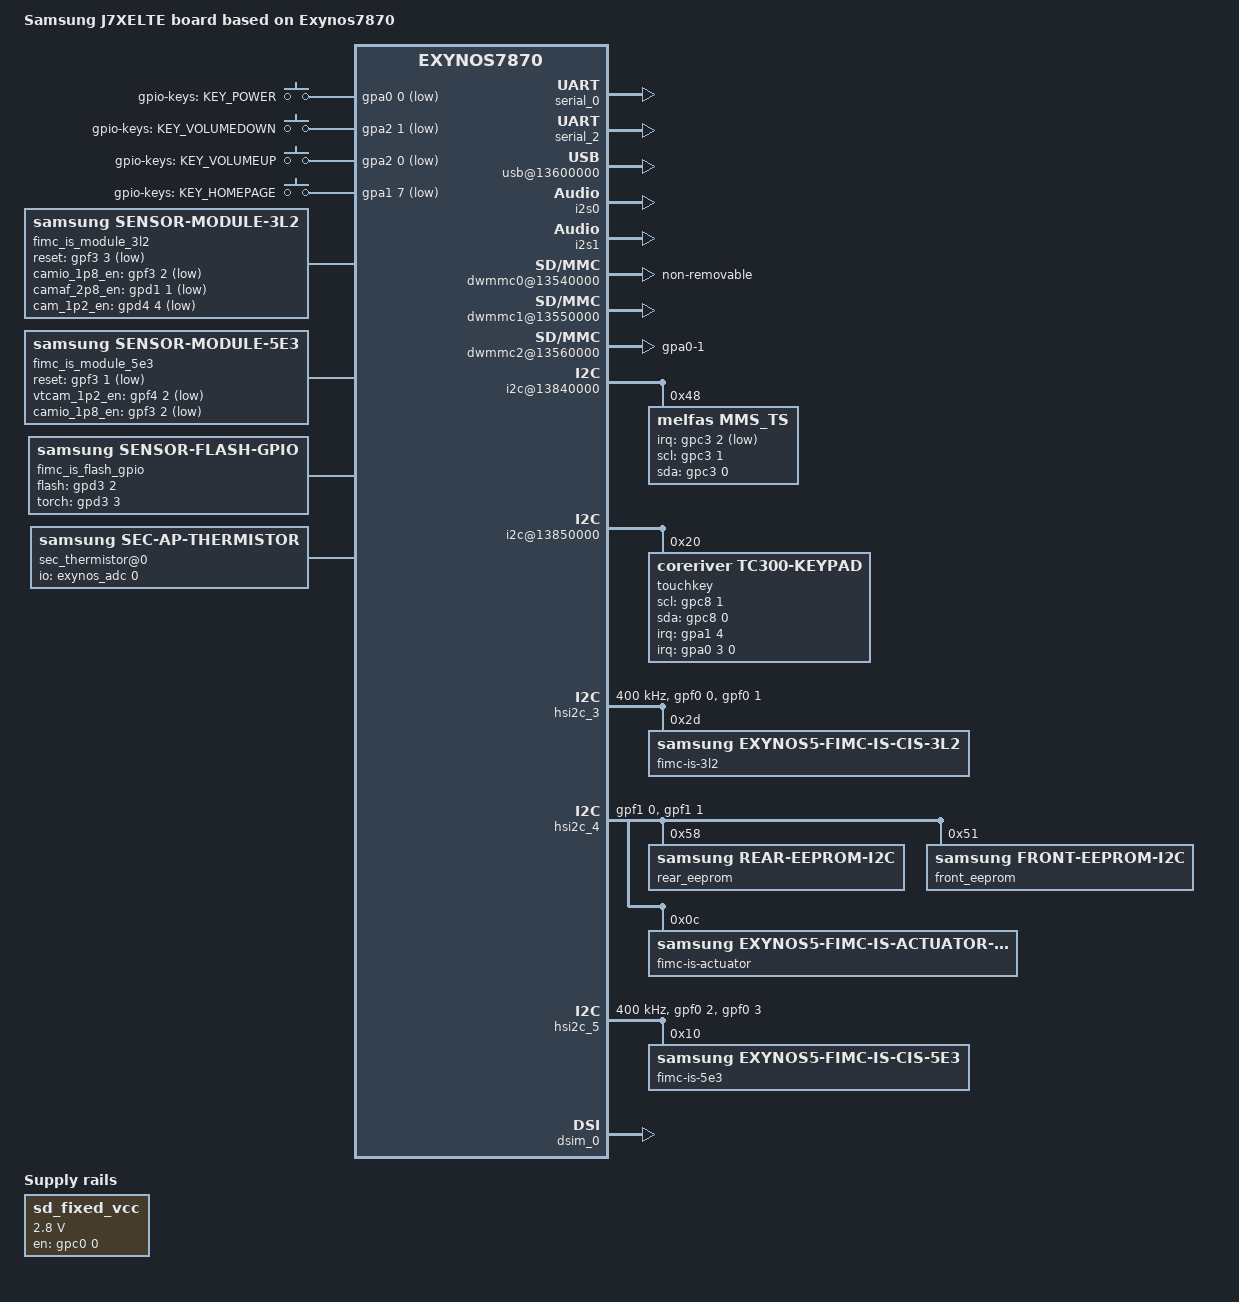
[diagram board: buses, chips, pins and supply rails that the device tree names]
/*
 * SAMSUNG UNIVERSAL8890 board device tree source
 *
 * Copyright (c) 2013 Samsung Electronics Co., Ltd.
 *		http://www.samsung.com
 *
 * This program is free software; you can redistribute it and/or modify
 * it under the terms of the GNU General Public License version 2 as
 * published by the Free Software Foundation.
*/

#include "exynos7870-rmem-2000MB.dtsi"
#include "exynos7870.dtsi"

/ {
	model = "Samsung J7XELTE board based on Exynos7870";
	compatible = "samsung,exynos7870", "samsung,universal7870";

	ect {
		parameter_address = <0x90000000>;
		parameter_size = <0x14000>;	/* u-boot always overwrites this value. */
	};

	memory@40000000 {
		device_type = "memory";
		reg = <0x0 0x40000000 0x3E400000>;
	};

	memory@80000000 {
		device_type = "memory";
		reg = <0x0 0x80000000 0x40000000>;
	};

	chosen {
		bootargs = "console=ram ess_setup=0x46000000 androidboot.hardware=samsungexynos7870 androidboot.selinux=disabled firmware_class.path=/vendor/firmware androidboot.debug_level=0x4948 reserve-fimc=0";
		linux,initrd-start = <0x42000000>;
		linux,initrd-end = <0x420FFFFF>;
	};

	fixed-rate-clocks {
		oscclk {
			compatible = "samsung,exynos7870-oscclk";
			clock-frequency = <26000000>;
		};
	};

	reserved-memory {
		#address-cells = <2>;
		#size-cells = <1>;
		ranges;

		mfc_fw {
			compatible = "exynos5433-ion,mfc_fw";
			secure;
			reg = <0x0 0xAE800000 0x200000>;
			id = <8>;
		};

		mfc_nfw {
			compatible = "exynos5433-ion,mfc_nfw";
			reg = <0x0 0xAE600000 0x200000>;
			id = <12>;
		};
	};

	serial_0: uart@13810000 {
		status = "okay";
	};

	serial_1: uart@13800000 {
		status = "disabled";
	};

	serial_2: uart@13820000 {
		status = "okay";
	};

	usb@13600000 {
		status = "okay";

		dwc3 {
			maximum-speed = "high-speed";
			dr_mode = "otg";
			is_not_vbus_pad;
		};
	};

	pinctrl_1: pinctrl@148C0000 {
		compatible = "samsung,exynos7870-pinctrl";
		reg = <0x0 0x148C0000 0x1000>;
		interrupts = <0 68 0>;
	};

	s1402x: s1402x@14880000 {
		pinctrl-names = "default", "idle";
		pinctrl-0 = <&i2s_pmic_bus
				&i2s_bt_bus>;
		pinctrl-1 = <&i2s_pmic_bus_idle
				&i2s_bt_bus_idle>;
		bt-fm-combo;
		bck-mcko-mode;
		status = "okay";
	};

	i2s0: i2s@148A0000 {
		status = "okay";
	};

	i2s1: i2s@148B0000 {
		status = "okay";
	};

	audio_cp_dummy: cp_dummy {
			compatible = "samsung,cp_dummy";
			status = "okay";
	};

	audio_fm_dummy: fm_dummy {
			compatible = "samsung,fm_dummy";
			status = "okay";
	};

	audio_bt_dummy: bt_dummy {
			compatible = "samsung,bt_dummy";
			status = "okay";
	};

	audio_codec_dummy: dummy-codec {
			compatible = "samsung,dummy-codec";
			status = "okay";
	};


	gpio_keys {
		compatible = "gpio-keys";
		pinctrl-names = "default";
		pinctrl-0 = <&key_power &key_voldown &key_volup &key_home>;
		#address-cells = <1>;
		#size-cells = <0>;

		button@1 {
			label = "gpio-keys: KEY_POWER";
			interrupts = <0 0 0>;
			interrupt-parent = <&gpa0>;
			linux,code = <116>;
			gpios = <&gpa0 0 0xf>;
			gpio-key,wakeup = <1>;
		};
		button@2 {
			label = "gpio-keys: KEY_VOLUMEDOWN";
			interrupts = <1 0 0>;
			interrupt-parent = <&gpa2>;
			linux,code = <114>;
			gpios = <&gpa2 1 0xf>;
		};
		button@3 {
			label = "gpio-keys: KEY_VOLUMEUP";
			interrupts = <0 0 0>;
			interrupt-parent = <&gpa2>;
			linux,code = <115>;
			gpios = <&gpa2 0 0xf>;
		};
		button@4 {
			label = "gpio-keys: KEY_HOMEPAGE";
			interrupts = <7 0 0>;
			interrupt-parent = <&gpa1>;
			linux,code = <172>;
			gpios = <&gpa1 7 0xf>;
			gpio-key,wakeup = <1>;
		};
	};

	dwmmc0@13540000 {
		status = "okay";
		num-slots = <1>;
		broken-cd;
		use-smu;
		fixed_voltage;
		clock-gate;
		supports-highspeed;
		mmc-ddr-1_8v;
		mmc-hs200-1_8v;
		mmc-hs400-1_8v;
		mmc-shutdown-poweroff;
		pm-skip-mmc-resume-init;
		supports-8bit;
		supports-cmd23;
		supports-erase;
		enable-ulp-mode;
		supports-hs400-enhanced-strobe;
		use-fine-tuning;
		bypass-for-allpass;
		card-init-hwacg-ctrl;
		fifo-depth = <0x40>;
		non-removable;
		desc-size = <4>;
		card-detect-delay = <200>;
		data-timeout = <200>;
		clock-frequency = <800000000>;
		samsung,dw-mshc-ciu-div = <3>;
		samsung,dw-mshc-txdt-crc-timer-fastlimit = <0x34>;
		samsung,dw-mshc-txdt-crc-timer-initval = <0x38>;
		samsung,dw-mshc-ddr200-delay-line = <0x60>;
		samsung,dw-mshc-sdr-timing = <3 0 4 0>;
		samsung,dw-mshc-ddr-timing = <3 0 4 2>;
		samsung,dw-mshc-hs200-timing = <3 0 3 0>;
		samsung,dw-mshc-ddr200-timing = <1 0 4 0>;
		samsung,dw-mshc-ddr200-ulp-timing = <3 0 3 0>;

		num-ref-clks = <12>;
		ciu_clkin = <25 50 50 25 50 100 200 50 50 200 200 200>;

		/* Swapping clock drive strength */
		clk-drive-number = <6>;
		pinctrl-names = "default",
			"fast-slew-rate-1x",
			"fast-slew-rate-2x",
			"fast-slew-rate-3x",
			"fast-slew-rate-4x",
			"fast-slew-rate-5x",
			"fast-slew-rate-6x";
		pinctrl-0 = <&sd0_clk &sd0_cmd &sd0_rdqs &sd0_bus1 &sd0_bus4 &sd0_bus8>;
		pinctrl-1 = <&sd0_clk_fast_slew_rate_1x>;
		pinctrl-2 = <&sd0_clk_fast_slew_rate_2x>;
		pinctrl-3 = <&sd0_clk_fast_slew_rate_3x>;
		pinctrl-4 = <&sd0_clk_fast_slew_rate_4x>;
		pinctrl-5 = <&sd0_clk_fast_slew_rate_5x>;
		pinctrl-6 = <&sd0_clk_fast_slew_rate_6x>;
		slot@0 {
			reg = <0>;
			bus-width = <8>;
		};
	};

	dwmmc1@13550000 {
		status = "okay";
		num-slots = <1>;
		channel = <1>;
		fixed_voltage;
		clock-gate;
		enable-cclk-on-suspend;
		caps-control;
		supports-highspeed;
		supports-4bit;
		keep-power-in-suspend;
		pm-ignore-notify;
		card-detect-type-external;
		use-broken-voltage;
		use-fine-tuning;
		fifo-depth = <0x40>;
		card-detect-delay = <200>;
		samsung,dw-mshc-ciu-div = <3>;
		samsung,dw-mshc-sdr-timing = <3 0 2 0>;
		samsung,dw-mshc-ddr-timing = <3 0 2 1>;
		clk_pin = "gpr2-0";
		clk_addr = "13750000.pinctrl";
		clk_val = <0x2>;
		clk_str_num = <4>;
		num-ref-clks = <9>;
		ciu_clkin = <25 50 50 25 50 100 200 50 50>;

		pinctrl-names = "default";
		pinctrl-0 = <&sd1_clk &sd1_cmd &sd1_bus1 &sd1_bus4>;
		slot@0 {
			reg = <0>;
			bus-width = <4>;
		};
	};

	dwmmc2@13560000 {
		status = "okay";
		num-slots = <1>;
		supports-highspeed;
		supports-4bit;
		supports-cmd23;
		supports-erase;
		sd-uhs-sdr50;
		sd-uhs-sdr104;
		card-detect-gpio;
		clock-gate;
		bypass-smu;
		bypass-for-allpass;
		use-fine-tuning;
		card-init-hwacg-ctrl;
		only_once_tune;
		skip-init-mmc-scan;
		samsung,voltage-int-extra = <0x7>;
		ignore-phase = <(1 << 7)>;
		fifo-depth = <0x40>;
		desc-size = <8>;
		card-detect-delay = <200>;
		data-timeout = <200>;
		hto-timeout = <550>;
		samsung,dw-mshc-ciu-div = <3>;
		clock-frequency = <800000000>;
		samsung,dw-mshc-sdr-timing = <3 0 3 0>;
		samsung,dw-mshc-ddr-timing = <3 0 2 1>;
		samsung,dw-mshc-sdr50-timing = <3 0 4 2>;
		samsung,dw-mshc-sdr104-timing = <3 0 3 0>;

		num-ref-clks = <9>;
		ciu_clkin = <25 50 50 25 50 100 200 50 50>;

		/* Swapping clock drive strength */
		clk-drive-number = <4>;
		pinctrl-names = "default",
			"fast-slew-rate-1x",
			"fast-slew-rate-2x",
			"fast-slew-rate-3x",
			"fast-slew-rate-4x";
		pinctrl-0 = <&sd2_clk &sd2_cmd &sd2_bus1 &sd2_bus4 &dwmmc2_cd_ext_irq>;
		pinctrl-1 = <&sd2_clk_fast_slew_rate_1x>;
		pinctrl-2 = <&sd2_clk_fast_slew_rate_2x>;
		pinctrl-3 = <&sd2_clk_fast_slew_rate_3x>;
		pinctrl-4 = <&sd2_clk_fast_slew_rate_4x>;

		card-detect = <&gpa0 1 0xf>;
		card-detect-gpio;
		sec-sd-slot-type = <1>; /* Normal SD slot */

		slot@0 {
			reg = <0>;
			bus-width = <4>;
			disable-wp;
		};
	};

	sd_fixed_vcc: fixedregulator@0 {
		compatible = "regulator-fixed";
		regulator-name = "vmmc";
		gpio = <&gpc0 0 1>;
		regulator-min-microvolt = <2800000>;
		regulator-max-microvolt = <2800000>;
		enable-active-high;
		regulator-initial-mode = <0>;
	};

	pinctrl@139D0000 {
		attn_input: attn-input {
			samsung,pins = "gpc3-2";
			samsung,pin-function = <0>;
			samsung,pin-pud = <0>;
			samsung,pin-drv = <0>;
		};
		attn_irq: attn-irq {
			samsung,pins = "gpc3-2";
			samsung,pin-function = <0xf>;
			samsung,pin-pud = <0>;
			samsung,pin-drv = <0>;
		};
	};

	i2c@13840000 {
		samsung,i2c-sda-delay = <100>;
		samsung,i2c-max-bus-freq = <400000>;
		status = "okay";
		#address-cells = <1>;
		#size-cells = <0>;

		mms_ts@48 {
			compatible = "melfas,mms_ts";
			reg = <0x48>;
			pinctrl-names = "on_state", "off_state";
			pinctrl-0 = <&attn_irq>;
			pinctrl-1 = <&attn_input>;
			melfas,vdd_en = "tsp_dvdd";
			melfas,irq-gpio = <&gpc3 2 0xf>;
			melfas,scl-gpio = <&gpc3 1 2>;
			melfas,sda-gpio = <&gpc3 0 2>;
			melfas,max_x = <720>;
			melfas,max_y = <1280>;
			melfas,fw_name = "tsp_melfas/mms438_j7x.fw";
		};
	};

	pinctrl@139F0000 {
		cfg_irq: cfg-irq {
			samsung,pins = "gpa1-4";
			samsung,pin-function = <0xf>;
			samsung,pin-pud = <3>;
			samsung,pin-drv = <0>;
		};
		cfg_input: cfg-input {
			samsung,pins = "gpa1-4";
			samsung,pin-function = <0>;
			samsung,pin-pud = <1>;
			samsung,pin-drv = <0>;
		};

		hall_irq: hall-irq {
			samsung,pins = "gpa1-3";
			samsung,pin-function = <0xf>;
			samsung,pin-pud = <0>;
			samsung,pin-drv = <0>;
		};
	};

	hall {
		status = "okay";
		compatible = "hall";
		pinctrl-names = "default";
		pinctrl-0 = <&hall_irq>;
		hall,gpio_flip_cover = <&gpa1 3 0>;
	};

	sec_vib {
		compatible = "sec_vib";
		sec_vib_pdata {
			status = "okay";
			sec_vib,max_timeout = <10000>;
			sec_vib,ldo_type = <0>;		/* 0: pmic ldo, 1: external ldo */
			sec_vib,regulator = "VDD_MOTOR_3.3";
		};
	};

	pinctrl@139B0000 {
		cfg_gpio: cfg-gpio {
			samsung,pins = "gpc8-1", "gpc8-0";
			samsung,pin-function = <0>;
			samsung,pin-pud = <0>;
			samsung,pin-drv = <0>;
		};
	};

	i2c@13850000 {
		samsung,i2c-sda-delay = <100>;
		samsung,i2c-max-bus-freq = <100000>;
		pinctrl-names = "default","on_i2c","off_i2c";
		pinctrl-0 = <&i2c7_bus>;
		pinctrl-1 = <&i2c7_bus>;
		pinctrl-2 = <&cfg_gpio>;
		status = "okay";
		#address-cells = <1>;
		#size-cells = <0>;
		touchkey@20 {
			pinctrl-names = "on_irq","off_irq";
			pinctrl-0 = <&cfg_irq>;
			pinctrl-1 = <&cfg_input>;
			compatible = "coreriver,tc300-keypad";
			reg = <0x20>;
			interrupts = <3 0 0>;
			interrupt-parent = <&gpa0>;
			coreriver,scl-gpio = <&gpc8 1 0>;
			coreriver,sda-gpio = <&gpc8 0 0>;
			coreriver,irq-gpio = <&gpa1 4 0>;
			//coreriver,i2c-gpio = "true";
			//coreriver,boot-on-ldo = "true";
			coreriver,fw_name = "coreriver/tc350k_j7x.fw";
			coreriver,sensing_ch_num = <0x4>;
			coreriver,tsk_ic_num = <0x1>; /* tc300k : 0x00, tc350k : 0x01 */
			coreriver,use_bitmap = <1>;
		};
	};

	pinctrl@139F0000 {
		key_power: key-power {
			samsung,pins = "gpa0-0";
			samsung,pin-function = <0xf>;
			samsung,pin-pud = <0>;
			samsung,pin-drv = <0>;
		};
		dwmmc2_cd_ext_irq: dwmmc2_cd_ext_irq {
			samsung,pins = "gpa0-1";
			samsung,pin-function = <0xf>;
			samsung,pin-pud = <0>;
			samsung,pin-drv = <0>;
		};

		key_voldown: key-voldown {
			samsung,pins = "gpa2-1";
			samsung,pin-function = <0xf>;
			samsung,pin-pud = <0>;
			samsung,pin-drv = <0>;
		};

		key_volup: key-volup {
			samsung,pins = "gpa2-0";
			samsung,pin-function = <0xf>;
			samsung,pin-pud = <0>;
			samsung,pin-drv = <0>;
		};

		key_home: key-home {
			samsung,pins = "gpa1-7";
			samsung,pin-function = <0xf>;
			samsung,pin-pud = <0>;
			samsung,pin-drv = <0>;
		};
		pmic_irq: pmic-irq {
			samsung,pins = "gpa0-2";
			samsung,pin-pud = <3>;
			samsung,pin-drv = <3>;
		};

		cod3026_irq: cod3026-irq {
			samsung,pins = "gpa0-4";
			samsung,pin-pud = <3>;
			samsung,pin-drv = <3>;
		};

		if_irq: if-irq {
			samsung,pins = "gpa2-7";
			samsung,pin-pud = <3>;
			samsung,pin-drv = <3>;
		};

		cfg_wlanhostwake: cfg-wlanhostwake {
			samsung,pins = "gpa2-2";
			samsung,pin-function = <0>;
			samsung,pin-pud = <1>;
		};

	};

	pinctrl@139E0000 {
		if_pmic_rstb: if-pmic-rstb {
			samsung,pins = "gpc7-4";
			samsung,pin-function = <2>;
			samsung,pin-pud = <3>;
			samsung,pin-con-pdn = <3>;
		};
	};

	pinctrl@139B0000 {
		/* Warm reset information from AP */
		pm_wrsti: pm-wrsti {
			samsung,pins = "gpd1-0";
			samsung,pin-con-pdn = <3>;
		};
	};

	pinctrl@139B0000 {
		cnss_wlanen: cnss-wlanen  {       /* WLAN_EN */
			samsung,pins = "gpd3-6";
			samsung,pin-function = <1>;
			samsung,pin-pud = <0>;
			samsung,pin-drv = <3>;
			samsung,pin-con-pdn = <3>;
			samsung,pin-pud-pdn = <0>;
			samsung,pin-val = <0>;
		};
	};

	pinctrl@148C0000 {
		i2s_pmic_bus: i2s-pmic-bus {
			samsung,pins = "gpz1-0", "gpz1-2", "gpz1-3", "gpz1-4";
			samsung,pin-function = <2>;
			samsung,pin-pud = <3>;
			samsung,pin-drv = <5>;
		};

		i2s_pmic_bus_idle: i2s-pmic-bus-idle {
			samsung,pins = "gpz1-0", "gpz1-2", "gpz1-3", "gpz1-4";
			samsung,pin-function = <0>;
			samsung,pin-pud = <3>;
			samsung,pin-drv = <5>;
		};
	};

	sound {
		compatible = "samsung,universal7870-cod3026x";
		samsung,audio-cpu = <&i2s0      /* primary */
			&i2s0                    /* secondary */
			&audio_cp_dummy
			&audio_bt_dummy
			&audio_fm_dummy
			&i2s1			/*AMP for AP */
			&audio_cp_dummy		/*AMP for CP */
			&eax
			&eax
			&eax
			&eax>;
		samsung,audio-codec = <&audio_codec_cod3026x
			&audio_codec_cod3026x
			&audio_codec_cod3026x
			&audio_codec_dummy
			&audio_codec_cod3026x
			&audio_codec_dummy
			&audio_codec_dummy
			&audio_codec_cod3026x
			&audio_codec_cod3026x
			&audio_codec_cod3026x
			&audio_codec_cod3026x>;
		mic-bias-mode = <1 1 2 0>;
		samsung,auxdev = <&s1402x>;
		fm-slave-i2s;
		status = "okay";
	};

	ion {
		compatible = "samsung,exynos5430-ion";
	};

	tmuctrl_0: tmuctrl_CPUCL0@10130000 {
		compatible = "samsung,exynos7870-tmu";
		reg = <0x0 0x10130000 0x200>;
		interrupts = <0 435 0>;
		max_trigger_level = <8>;
		non_hw_trigger_levels = <7>;

		/* Throttling Level */
		trigger_levels_0 = <76>;
		trigger_levels_1 = <81>;
		trigger_levels_2 = <86>;
		trigger_levels_3 = <91>;
		trigger_levels_4 = <96>;
		trigger_levels_5 = <101>;
		trigger_levels_6 = <111>;
		trigger_levels_7 = <115>;

		trigger_enable_0 = <ENABLE>;
		trigger_enable_1 = <ENABLE>;
		trigger_enable_2 = <ENABLE>;
		trigger_enable_3 = <ENABLE>;
		trigger_enable_4 = <ENABLE>;
		trigger_enable_5 = <ENABLE>;
		trigger_enable_6 = <ENABLE>;
		trigger_enable_7 = <ENABLE>;

		trigger_type_0 = <THROTTLE_ACTIVE>;
		trigger_type_1 = <THROTTLE_ACTIVE>;
		trigger_type_2 = <THROTTLE_ACTIVE>;
		trigger_type_3 = <THROTTLE_ACTIVE>;
		trigger_type_4 = <THROTTLE_ACTIVE>;
		trigger_type_5 = <THROTTLE_ACTIVE>;
		trigger_type_6 = <THROTTLE_ACTIVE>;
		trigger_type_7 = <HW_TRIP>;

		freq_tab_count = <5>;

		freq_clip_max_0 = <1586000>;
		freq_clip_max_1 = <1248000>;
		freq_clip_max_2 = <1248000>;
		freq_clip_max_3 = <546000>;
		freq_clip_max_4 = <546000>;

		cooling_level_0 = <76>;
		cooling_level_1 = <81>;
		cooling_level_2 = <86>;
		cooling_level_3 = <91>;
		cooling_level_4 = <96>;
	};

	tmuctrl_1: tmuctrl_CPUCL1@10130000 {
		compatible = "samsung,exynos7870-tmu";
		reg = <0x0 0x10130000 0x200>;
		interrupts = <0 435 0>;
		max_trigger_level = <8>;
		non_hw_trigger_levels = <7>;

		/* Throttling Level */
		trigger_levels_0 = <76>;
		trigger_levels_1 = <81>;
		trigger_levels_2 = <86>;
		trigger_levels_3 = <91>;
		trigger_levels_4 = <96>;
		trigger_levels_5 = <101>;
		trigger_levels_6 = <111>;
		trigger_levels_7 = <115>;

		trigger_enable_0 = <ENABLE>;
		trigger_enable_1 = <ENABLE>;
		trigger_enable_2 = <ENABLE>;
		trigger_enable_3 = <ENABLE>;
		trigger_enable_4 = <ENABLE>;
		trigger_enable_5 = <ENABLE>;
		trigger_enable_6 = <ENABLE>;
		trigger_enable_7 = <ENABLE>;

		trigger_type_0 = <THROTTLE_ACTIVE>;
		trigger_type_1 = <THROTTLE_ACTIVE>;
		trigger_type_2 = <THROTTLE_ACTIVE>;
		trigger_type_3 = <THROTTLE_ACTIVE>;
		trigger_type_4 = <THROTTLE_ACTIVE>;
		trigger_type_5 = <THROTTLE_ACTIVE>;
		trigger_type_6 = <THROTTLE_ACTIVE>;
		trigger_type_7 = <HW_TRIP>;

		freq_tab_count = <5>;

		freq_clip_max_0 = <1586000>;
		freq_clip_max_1 = <1248000>;
		freq_clip_max_2 = <1248000>;
		freq_clip_max_3 = <546000>;
		freq_clip_max_4 = <546000>;

		cooling_level_0 = <76>;
		cooling_level_1 = <81>;
		cooling_level_2 = <86>;
		cooling_level_3 = <91>;
		cooling_level_4 = <96>;

		hotplug_enable = <1>;
		hotplug_in_threshold = <91>;
		hotplug_out_threshold = <96>;
	};

	tmuctrl_2: tmuctrl_G3D@10130000 {
		compatible = "samsung,exynos7870-tmu";
		reg = <0x0 0x10130000 0x200>;
		interrupts = <0 435 0>;
		max_trigger_level = <8>;
		non_hw_trigger_levels = <7>;

		/* Throttling Level */
		trigger_levels_0 = <76>;
		trigger_levels_1 = <81>;
		trigger_levels_2 = <86>;
		trigger_levels_3 = <91>;
		trigger_levels_4 = <96>;
		trigger_levels_5 = <101>;
		trigger_levels_6 = <111>;
		trigger_levels_7 = <115>;

		trigger_enable_0 = <ENABLE>;
		trigger_enable_1 = <ENABLE>;
		trigger_enable_2 = <ENABLE>;
		trigger_enable_3 = <ENABLE>;
		trigger_enable_4 = <ENABLE>;
		trigger_enable_5 = <ENABLE>;
		trigger_enable_6 = <ENABLE>;
		trigger_enable_7 = <ENABLE>;

		trigger_type_0 = <THROTTLE_ACTIVE>;
		trigger_type_1 = <THROTTLE_ACTIVE>;
		trigger_type_2 = <THROTTLE_ACTIVE>;
		trigger_type_3 = <THROTTLE_ACTIVE>;
		trigger_type_4 = <THROTTLE_ACTIVE>;
		trigger_type_5 = <THROTTLE_ACTIVE>;
		trigger_type_6 = <THROTTLE_ACTIVE>;
		trigger_type_7 = <HW_TRIP>;

		freq_tab_count = <6>;

		freq_clip_max_0 = <1246000>;
		freq_clip_max_1 = <1146000>;
		freq_clip_max_2 = <1001000>;
		freq_clip_max_3 = <728000>;
		freq_clip_max_4 = <343000>;
		freq_clip_max_5 = <343000>;

		cooling_level_0 = <76>;
		cooling_level_1 = <81>;
		cooling_level_2 = <86>;
		cooling_level_3 = <91>;
		cooling_level_4 = <96>;
		cooling_level_5 = <101>;

		/* gpu cooling related table */
		gpu_idx_num = <6>;
		/* flags, driver_data(index), frequency */
		gpu_cooling_table = < 0 0 1001000
				      0 1 845000
				      0 2 728000
				      0 3 545000
				      0 4 343000
				      0 5 TABLE_END>;
	};

	/* modem_interface */
	mif_pdata {
		reg = <0 0x10000 0x14>;
		pinctrl-names = "default";

		/* To do: will be remove, for system revision */
		gpios = <&gpd2 4 0x0>,
		       <&gpd2 5 0x0>,
		       <&gpd3 0 0x0>,
		       <&gpd3 1 0x0>;

		mif,ap_clk_table = <
			/* khz */
			1586000
			1482000
			1352000
			1248000
			1144000
			1014000
			902000
			839000
			757000
			676000
			546000
			449000
			345000
			>;

		mif,mif_clk_table = <
			/* khz */
			902000
			825000
			728000
			676000
			546000
			451000
			275000
			>;

		mif,int_clk_table = <
			/* khz */
			400000
			334000
			200000
			134000
			>;
	};

	fimc_is@14400000 {
		vender {
			rear_sensor_id = <8>; /* SENSOR_NAME_S5K3L2 */
			front_sensor_id = <17>; /* SENSOR_NAME_S5K5E3 */
			use_module_check;

			total_camera_num = <2>;
			camera_info0 {				// 0 : rear
				isp = <0>;				/* 0 : INT , 1 : EXT , 2 : SOC */
				cal_memory = <2>;		/* 0 : N , 1 : FROM , 2 : EEPROM , 3 : OTP  */
				read_version = <0>;		/* 0 : SYSFS , 1 : CAMON */

				core_voltage = <0>;		/* 0 : N , 1 : Y  */
				upgrade = <0>;			/* 0 : N , 1 : SYSFS , 2 : CAMON */
				companion = <0>;		/* 0 : N , 1 : Y  */
				ois = <0>;				/* 0 : N , 1 : Y  */
			};
			camera_info1 {				// 1 : front
				isp = <0>;				/* 0 : INT , 1 : EXT , 2 : SOC */
				cal_memory = <2>;		/* 0 : N , 1 : FROM , 2 : EEPROM , 3 : OTP  */
				read_version = <0>;		/* 0 : SYSFS , 1 : CAMON */

				core_voltage = <0>;		/* 0 : N , 1 : Y  */
				upgrade = <0>;			/* 0 : N , 1 : SYSFS , 2 : CAMON */
				companion = <0>;		/* 0 : N , 1 : Y  */
				ois = <0>;				/* 0 : N , 1 : Y  */
			};
		};

		fimc_is_dvfs {
			#define DVFS_INT_L0 400000
			#define DVFS_INT_L1 334000
			#define DVFS_INT_L2 200000
			#define DVFS_INT_L3 134000

			#define DVFS_CAM_L0 533000
			#define DVFS_CAM_L1 334000
			#define DVFS_CAM_L2 167000

			#define DVFS_MIF_L0 902000
			#define DVFS_MIF_L1 836000
			#define DVFS_MIF_L2 728000
			#define DVFS_MIF_L3 676000
			#define DVFS_MIF_L4 546000
			#define DVFS_MIF_L5 451000
			#define DVFS_MIF_L6 275000

			table0 {
				desc = "default Max version";

				default_int = <0>;
				default_cam = <DVFS_CAM_L0>;
				default_mif = <DVFS_MIF_L0>;
				default_i2c = <0>;

				front_preview_int = <0>;
				front_preview_cam = <DVFS_CAM_L1>;
				front_preview_mif = <DVFS_MIF_L0>;
				front_preview_i2c = <0>;

				front_capture_int = <0>;
				front_capture_cam = <DVFS_CAM_L1>;
				front_capture_mif = <DVFS_MIF_L0>;
				front_capture_i2c = <0>;

				front_video_int = <0>;
				front_video_cam = <DVFS_CAM_L1>;
				front_video_mif = <DVFS_MIF_L0>;
				front_video_i2c = <0>;

				front_video_whd_int = <0>;
				front_video_whd_cam = <DVFS_CAM_L1>;
				front_video_whd_mif = <DVFS_MIF_L0>;
				front_video_whd_i2c = <0>;

				front_video_capture_int = <0>;
				front_video_capture_cam = <DVFS_CAM_L1>;
				front_video_capture_mif = <DVFS_MIF_L0>;
				front_video_capture_i2c = <0>;

				front_video_whd_capture_int = <0>;
				front_video_whd_capture_cam = <DVFS_CAM_L1>;
				front_video_whd_capture_mif = <DVFS_MIF_L0>;
				front_video_whd_capture_i2c = <0>;

				front_vt1_int = <0>;
				front_vt1_cam = <DVFS_CAM_L1>;
				front_vt1_mif = <DVFS_MIF_L0>;
				front_vt1_i2c = <0>;

				front_vt2_int = <0>;
				front_vt2_cam = <DVFS_CAM_L1>;
				front_vt2_mif = <DVFS_MIF_L0>;
				front_vt2_i2c = <0>;

				front_companion_preview_int = <0>;
				front_companion_preview_cam = <DVFS_CAM_L1>;
				front_companion_preview_mif = <DVFS_MIF_L0>;
				front_companion_preview_i2c = <0>;

				front_companion_capture_int = <0>;
				front_companion_capture_cam = <DVFS_CAM_L1>;
				front_companion_capture_mif = <DVFS_MIF_L0>;
				front_companion_capture_i2c = <0>;

				front_companion_video_int = <0>;
				front_companion_video_cam = <DVFS_CAM_L1>;
				front_companion_video_mif = <DVFS_MIF_L0>;
				front_companion_video_i2c = <0>;

				front_companion_video_whd_int = <0>;
				front_companion_video_whd_cam = <DVFS_CAM_L1>;
				front_companion_video_whd_mif = <DVFS_MIF_L0>;
				front_companion_video_whd_i2c = <0>;

				front_companion_video_capture_int = <0>;
				front_companion_video_capture_cam = <DVFS_CAM_L1>;
				front_companion_video_capture_mif = <DVFS_MIF_L0>;
				front_companion_video_capture_i2c = <0>;

				front_companion_video_whd_capture_int = <0>;
				front_companion_video_whd_capture_cam = <DVFS_CAM_L1>;
				front_companion_video_whd_capture_mif = <DVFS_MIF_L0>;
				front_companion_video_whd_capture_i2c = <0>;

				rear_preview_fhd_int = <0>;
				rear_preview_fhd_cam = <DVFS_CAM_L0>;
				rear_preview_fhd_mif = <DVFS_MIF_L0>;
				rear_preview_fhd_i2c = <0>;

				rear_preview_whd_int = <0>;
				rear_preview_whd_cam = <DVFS_CAM_L0>;
				rear_preview_whd_mif = <DVFS_MIF_L0>;
				rear_preview_whd_i2c = <0>;

				rear_preview_uhd_int = <0>;
				rear_preview_uhd_cam = <DVFS_CAM_L0>;
				rear_preview_uhd_mif = <DVFS_MIF_L0>;
				rear_preview_uhd_i2c = <0>;

				rear_capture_int = <0>;
				rear_capture_cam = <DVFS_CAM_L0>;
				rear_capture_mif = <DVFS_MIF_L0>;
				rear_capture_i2c = <0>;

				rear_video_fhd_int = <0>;
				rear_video_fhd_cam = <DVFS_CAM_L0>;
				rear_video_fhd_mif = <DVFS_MIF_L0>;
				rear_video_fhd_i2c = <0>;

				rear_video_whd_int = <0>;
				rear_video_whd_cam = <DVFS_CAM_L0>;
				rear_video_whd_mif = <DVFS_MIF_L0>;
				rear_video_whd_i2c = <0>;

				rear_video_uhd_int = <0>;
				rear_video_uhd_cam = <DVFS_CAM_L0>;
				rear_video_uhd_mif = <DVFS_MIF_L0>;
				rear_video_uhd_i2c = <0>;

				rear_video_fhd_capture_int = <0>;
				rear_video_fhd_capture_cam = <DVFS_CAM_L0>;
				rear_video_fhd_capture_mif = <DVFS_MIF_L0>;
				rear_video_fhd_capture_i2c = <0>;

				rear_video_whd_capture_int = <0>;
				rear_video_whd_capture_cam = <DVFS_CAM_L0>;
				rear_video_whd_capture_mif = <DVFS_MIF_L0>;
				rear_video_whd_capture_i2c = <0>;

				rear_video_uhd_capture_int = <0>;
				rear_video_uhd_capture_cam = <DVFS_CAM_L0>;
				rear_video_uhd_capture_mif = <DVFS_MIF_L0>;
				rear_video_uhd_capture_i2c = <0>;

				dual_preview_int = <0>;
				dual_preview_cam = <DVFS_CAM_L0>;
				dual_preview_mif = <DVFS_MIF_L0>;
				dual_preview_i2c = <0>;

				dual_capture_int = <0>;
				dual_capture_cam = <DVFS_CAM_L0>;
				dual_capture_mif = <DVFS_MIF_L0>;
				dual_capture_i2c = <0>;

				dual_video_int = <0>;
				dual_video_cam = <DVFS_CAM_L0>;
				dual_video_mif = <DVFS_MIF_L0>;
				dual_video_i2c = <0>;

				dual_video_capture_int = <0>;
				dual_video_capture_cam = <DVFS_CAM_L0>;
				dual_video_capture_mif = <DVFS_MIF_L0>;
				dual_video_capture_i2c = <0>;

				preview_high_speed_fps_int = <0>;
				preview_high_speed_fps_cam = <DVFS_CAM_L2>;
				preview_high_speed_fps_mif = <DVFS_MIF_L0>;
				preview_high_speed_fps_i2c = <0>;

				video_high_speed_60fps_int = <0>;
				video_high_speed_60fps_cam = <DVFS_CAM_L1>;
				video_high_speed_60fps_mif = <DVFS_MIF_L0>;
				video_high_speed_60fps_i2c = <0>;

				video_high_speed_120fps_int = <0>;
				video_high_speed_120fps_cam = <DVFS_CAM_L1>;
				video_high_speed_120fps_mif = <DVFS_MIF_L0>;
				video_high_speed_120fps_i2c = <0>;

				video_high_speed_240fps_int = <0>;
				video_high_speed_240fps_cam = <DVFS_CAM_L0>;
				video_high_speed_240fps_mif = <DVFS_MIF_L0>;
				video_high_speed_240fps_i2c = <0>;

				max_int = <DVFS_INT_L3>;
				max_cam = <DVFS_CAM_L0>;
				max_mif = <DVFS_MIF_L0>;
				max_i2c = <0>;
			};

			table1 {
				desc = "HAL3 version";

				default_int = <DVFS_INT_L0>;
				default_cam = <DVFS_CAM_L0>;
				default_mif = <DVFS_MIF_L0>;
				default_i2c = <0>;

				front_preview_int = <DVFS_INT_L0>;
				front_preview_cam = <DVFS_CAM_L1>;
				front_preview_mif = <DVFS_MIF_L0>;
				front_preview_i2c = <0>;

				front_capture_int = <DVFS_INT_L0>;
				front_capture_cam = <DVFS_CAM_L1>;
				front_capture_mif = <DVFS_MIF_L0>;
				front_capture_i2c = <0>;

				front_video_int = <DVFS_INT_L0>;
				front_video_cam = <DVFS_CAM_L1>;
				front_video_mif = <DVFS_MIF_L0>;
				front_video_i2c = <0>;

				front_video_whd_int = <DVFS_INT_L0>;
				front_video_whd_cam = <DVFS_CAM_L1>;
				front_video_whd_mif = <DVFS_MIF_L0>;
				front_video_whd_i2c = <0>;

				front_video_capture_int = <DVFS_INT_L0>;
				front_video_capture_cam = <DVFS_CAM_L1>;
				front_video_capture_mif = <DVFS_MIF_L0>;
				front_video_capture_i2c = <0>;

				front_video_whd_capture_int = <DVFS_INT_L0>;
				front_video_whd_capture_cam = <DVFS_CAM_L1>;
				front_video_whd_capture_mif = <DVFS_MIF_L0>;
				front_video_whd_capture_i2c = <0>;

				front_vt1_int = <DVFS_INT_L0>;
				front_vt1_cam = <DVFS_CAM_L1>;
				front_vt1_mif = <DVFS_MIF_L0>;
				front_vt1_i2c = <0>;

				front_vt2_int = <DVFS_INT_L0>;
				front_vt2_cam = <DVFS_CAM_L1>;
				front_vt2_mif = <DVFS_MIF_L0>;
				front_vt2_i2c = <0>;

				front_companion_preview_int = <DVFS_INT_L0>;
				front_companion_preview_cam = <DVFS_CAM_L1>;
				front_companion_preview_mif = <DVFS_MIF_L0>;
				front_companion_preview_i2c = <0>;

				front_companion_capture_int = <DVFS_INT_L0>;
				front_companion_capture_cam = <DVFS_CAM_L1>;
				front_companion_capture_mif = <DVFS_MIF_L0>;
				front_companion_capture_i2c = <0>;

				front_companion_video_int = <DVFS_INT_L0>;
				front_companion_video_cam = <DVFS_CAM_L1>;
				front_companion_video_mif = <DVFS_MIF_L0>;
				front_companion_video_i2c = <0>;

				front_companion_video_whd_int = <DVFS_INT_L0>;
				front_companion_video_whd_cam = <DVFS_CAM_L1>;
				front_companion_video_whd_mif = <DVFS_MIF_L0>;
				front_companion_video_whd_i2c = <0>;

				front_companion_video_capture_int = <DVFS_INT_L0>;
				front_companion_video_capture_cam = <DVFS_CAM_L1>;
				front_companion_video_capture_mif = <DVFS_MIF_L0>;
				front_companion_video_capture_i2c = <0>;

				front_companion_video_whd_capture_int = <DVFS_INT_L0>;
				front_companion_video_whd_capture_cam = <DVFS_CAM_L1>;
				front_companion_video_whd_capture_mif = <DVFS_MIF_L0>;
				front_companion_video_whd_capture_i2c = <0>;

				rear_preview_fhd_int = <DVFS_INT_L0>;
				rear_preview_fhd_cam = <DVFS_CAM_L0>;
				rear_preview_fhd_mif = <DVFS_MIF_L0>;
				rear_preview_fhd_i2c = <0>;

				rear_preview_whd_int = <DVFS_INT_L0>;
				rear_preview_whd_cam = <DVFS_CAM_L0>;
				rear_preview_whd_mif = <DVFS_MIF_L0>;
				rear_preview_whd_i2c = <0>;

				rear_preview_uhd_int = <DVFS_INT_L0>;
				rear_preview_uhd_cam = <DVFS_CAM_L0>;
				rear_preview_uhd_mif = <DVFS_MIF_L0>;
				rear_preview_uhd_i2c = <0>;

				rear_capture_int = <DVFS_INT_L0>;
				rear_capture_cam = <DVFS_CAM_L0>;
				rear_capture_mif = <DVFS_MIF_L0>;
				rear_capture_i2c = <0>;

				rear_video_fhd_int = <DVFS_INT_L0>;
				rear_video_fhd_cam = <DVFS_CAM_L0>;
				rear_video_fhd_mif = <DVFS_MIF_L0>;
				rear_video_fhd_i2c = <0>;

				rear_video_whd_int = <DVFS_INT_L0>;
				rear_video_whd_cam = <DVFS_CAM_L0>;
				rear_video_whd_mif = <DVFS_MIF_L0>;
				rear_video_whd_i2c = <0>;

				rear_video_uhd_int = <DVFS_INT_L0>;
				rear_video_uhd_cam = <DVFS_CAM_L0>;
				rear_video_uhd_mif = <DVFS_MIF_L0>;
				rear_video_uhd_i2c = <0>;

				rear_video_fhd_capture_int = <DVFS_INT_L0>;
				rear_video_fhd_capture_cam = <DVFS_CAM_L0>;
				rear_video_fhd_capture_mif = <DVFS_MIF_L0>;
				rear_video_fhd_capture_i2c = <0>;

				rear_video_whd_capture_int = <DVFS_INT_L0>;
				rear_video_whd_capture_cam = <DVFS_CAM_L0>;
				rear_video_whd_capture_mif = <DVFS_MIF_L0>;
				rear_video_whd_capture_i2c = <0>;

				rear_video_uhd_capture_int = <DVFS_INT_L0>;
				rear_video_uhd_capture_cam = <DVFS_CAM_L0>;
				rear_video_uhd_capture_mif = <DVFS_MIF_L0>;
				rear_video_uhd_capture_i2c = <0>;

				dual_preview_int = <DVFS_INT_L0>;
				dual_preview_cam = <DVFS_CAM_L0>;
				dual_preview_mif = <DVFS_MIF_L0>;
				dual_preview_i2c = <0>;

				dual_capture_int = <DVFS_INT_L0>;
				dual_capture_cam = <DVFS_CAM_L0>;
				dual_capture_mif = <DVFS_MIF_L0>;
				dual_capture_i2c = <0>;

				dual_video_int = <DVFS_INT_L0>;
				dual_video_cam = <DVFS_CAM_L0>;
				dual_video_mif = <DVFS_MIF_L0>;
				dual_video_i2c = <0>;

				dual_video_capture_int = <DVFS_INT_L0>;
				dual_video_capture_cam = <DVFS_CAM_L0>;
				dual_video_capture_mif = <DVFS_MIF_L0>;
				dual_video_capture_i2c = <0>;

				preview_high_speed_fps_int = <DVFS_INT_L0>;
				preview_high_speed_fps_cam = <DVFS_CAM_L2>;
				preview_high_speed_fps_mif = <DVFS_MIF_L0>;
				preview_high_speed_fps_i2c = <0>;

				video_high_speed_60fps_int = <DVFS_INT_L0>;
				video_high_speed_60fps_cam = <DVFS_CAM_L1>;
				video_high_speed_60fps_mif = <DVFS_MIF_L0>;
				video_high_speed_60fps_i2c = <0>;

				video_high_speed_120fps_int = <DVFS_INT_L0>;
				video_high_speed_120fps_cam = <DVFS_CAM_L1>;
				video_high_speed_120fps_mif = <DVFS_MIF_L0>;
				video_high_speed_120fps_i2c = <0>;

				video_high_speed_240fps_int = <DVFS_INT_L0>;
				video_high_speed_240fps_cam = <DVFS_CAM_L0>;
				video_high_speed_240fps_mif = <DVFS_MIF_L0>;
				video_high_speed_240fps_i2c = <0>;

				max_int = <DVFS_INT_L0>;
				max_cam = <DVFS_CAM_L0>;
				max_mif = <DVFS_MIF_L0>;
				max_i2c = <0>;
			};
		};
	};

	pinctrl@139B0000 {
		fimc_is_mclk0_fn: fimc_is_mclk0_fn {
			samsung,pins = "gpe0-0";
			samsung,pin-function = <2>;
			samsung,pin-pud = <0>;
			samsung,pin-drv = <1>;
		};
	};

	fimc_is_module_3l2: fimc-is_sensor_3l2@2D {
		compatible = "samsung,sensor-module-3l2";

		pinctrl-names = "pin0", "pin1";
		pinctrl-0 = <&fimc_is_mclk0_in &fimc_is_flash>;
		pinctrl-1 = <&fimc_is_mclk0_fn &fimc_is_flash>;

		position = <0>; /* Rear:0. Front:1 */
		id = <0>; /* sensor node id */
		mclk_ch = <0>;
		sensor_i2c_ch = <0>; /* I2C 0 */
		sensor_i2c_addr = <0x5A>;

		gpio_reset = <&gpf3 3 0x1>; /* sensor reset */
		gpio_camio_1p8_en = <&gpf3 2 0x1>; /* CAM_IO_1P8 enable pin */
		gpio_camaf_2p8_en = <&gpd1 1 0x1>; /* CAM_AF_2P8 enable pin */
		gpio_cam_1p2_en = <&gpd4 4 0x1>; /* CAM_1P2 enable pin */
		status = "okay";

		af {
			product_name = <14>; /* ACTUATOR_NAME_ZC533 */
			i2c_addr = <0x18>;
			i2c_ch = <1>; /* I2C 0 */
		};

		/* TODO : need to update */
		flash {
			product_name = <11>; /* FLASH_GPIO */
			flash_first_gpio = <2>;
			flash_second_gpio = <1>;
		};
	};

	fimc_is_module_5e3: fimc-is_sensor_5e3@20 {
		compatible = "samsung,sensor-module-5e3";

		pinctrl-names = "pin0", "pin1";
		pinctrl-0 = <&fimc_is_mclk1_in>;
		pinctrl-1 = <&fimc_is_mclk1_fn>;

		position = <1>; /* Rear:0. Front:1 */
		id = <1>; /* sensor node id */
		mclk_ch = <1>;
		sensor_i2c_ch = <2>;
		sensor_i2c_addr = <0x20>;

		gpio_reset = <&gpf3 1 0x1>;
		gpio_vtcam_1p2_en = <&gpf4 2 0x1>; /* 1P2 enable pin */
		gpio_camio_1p8_en = <&gpf3 2 0x1>; /* CAM_IO_1P8 enable pin */
		status = "okay";

		flash {
			product_name = <11>; /* FLASH_GPIO */
			flash_first_gpio = <2>;
			flash_second_gpio = <1>;
		};
	};

	fimc_is_flash_gpio: fimc-is-flash_gpio@0 {
		compatible = "samsung,sensor-flash-gpio";
		id = <0>; /* Rear  */
		status = "okay";

		flash-gpio = <&gpd3 2 0>;
		torch-gpio = <&gpd3 3 0>;
	};

	hsi2c_3: hsi2c@138A0000 {
		gpios = <&gpf0 0 0 &gpf0 1 0>;
		status = "okay";
		clock-frequency = <400000>;

		pinctrl-names = "default";
		pinctrl-0 = <&hs_i2c3_bus>;

		fimc-is-3l2@2D {
			compatible = "samsung,exynos5-fimc-is-cis-3l2";
			reg = <0x2D>;
			id = <0>; /* matching sensor id */
			fnum = <2>; /* F1_9 : fimc-is-param.h */
			setfile = "default";
		};
	};

	hsi2c_4: hsi2c@138B0000 {
		gpios = <&gpf1 0 0 &gpf1 1 0>;
		status = "okay";
		samsung,i2c-sda-delay = <100>;
		samsung,i2c-max-bus-freq = <400000>;

		pinctrl-names = "default";
		pinctrl-0 = <&hs_i2c4_bus>;

		rear_eeprom@58 {
			compatible = "samsung,rear-eeprom-i2c";
			reg = <0x58>;
		};

		front_eeprom@51 {
			compatible = "samsung,front-eeprom-i2c";
			reg = <0x51>;
		};

		fimc-is-actuator@18 {
			compatible = "samsung,exynos5-fimc-is-actuator-zc533";
			reg = <0x0C>;
			id = <0>; /* matching sensor id */
		};
	};

	hsi2c_5: hsi2c@138C0000 {
		gpios = <&gpf0 2 0 &gpf0 3 0>;
		status = "okay";
		clock-frequency = <400000>;

		pinctrl-names = "default";
		pinctrl-0 = <&hs_i2c5_bus>;

		fimc-is-5e3@6A {
			compatible = "samsung,exynos5-fimc-is-cis-5e3";
			reg = <0x10>;
			id = <1>; /* matching sensor id */
			setfile = "default";
		};
	};

	#define SENSOR_SCENARIO_NORMAL		0
	#define SENSOR_SCENARIO_VISION		1
	#define SENSOR_SCENARIO_EXTERNAL	2
	#define SENSOR_SCENARIO_OIS_FACTORY	3
	#define SENSOR_SCENARIO_VIRTUAL		9
	#define FLITE_ID_NOTHING 100

	fimc_is_sensor0: fimc_is_sensor@14420000 {
		scenario = <SENSOR_SCENARIO_NORMAL>;	/* Normal, Vision, OIS etc */
		id = <0>;
		csi_ch = <0>;
		flite_ch = <0>;
		is_bns = <1>;
		status = "okay";
	};

	fimc_is_sensor1: fimc_is_sensor@14460000 {
		scenario = <SENSOR_SCENARIO_NORMAL>;	/* Normal, Vision, OIS etc */
		id = <1>;
		csi_ch = <1>;
		flite_ch = <0>;
		is_bns = <1>;
		status = "okay";
	};

	decon_fb@14830000 {
		psr_mode = <0>;		/* 0: video mode, 1: DP command mode, 2: MIPI command mode */
		disp-pll-clk = <64000000>;
		disp-vclk = <64000000>;
		disp-eclk = <70000000>;
		disp-dvfs = <200000>;
		status = "okay";
	};

	dsim_0: dsim@14800000 {
		lcd_info = <&ea8061s>;
		decon_board = <&decon_board>;
		status = "okay";
	};

	decon_board: decon_board {
		gpio_lcd_rst = <&gpd3 4 0x1>;

		dsim_set_panel_power_enable {
			type =
			"regulator,enable",	"LCD_1P8",
			"regulator,enable",	"LCD_3P0",
			"delay,msleep",	"25";
		};
		dsim_set_panel_power_disable {
			type =
			"delay,usleep",	"5000 6000",
			"gpio,low",	"gpio_lcd_rst",
			"delay,usleep",	"10000 11000",
			"regulator,disable",	"LCD_3P0",
			"regulator,disable",	"LCD_1P8";
		};
		dsim_reset_panel {
			type =
			"gpio,high",	"gpio_lcd_rst",
			"delay,usleep",	"5000 6000",
			"gpio,low",	"gpio_lcd_rst",
			"delay,usleep",	"5000 6000",
			"gpio,high",	"gpio_lcd_rst",
			"delay,usleep",	"10000 11000";
		};
	};

	ea8061s: ea8061s_hd {
		mode = <0>;
		resolution = <720 1280>;
		size = <68 121>;
		ddi_type = <1>;
		timing,refresh = <60>;
		/* HBP HFP HSW */
		timing,h-porch = <48 56 4>;
		/* VBP VFP VSW */
		timing,v-porch = <5 9 2>;
		timing,dsi-hs-clk = <477>;
		timing,dsi-escape-clk = <16>;
		timing,pms = <3 220 2>;
		/* OCTA_ID */
		gpios = <&gpd3 5 0x1>;
	};

	sec_thermistor@0 {
		compatible = "samsung,sec-ap-thermistor";
		status = "okay";

		adc_array = <289 301 313 324 336 348 360 372 383 395
				407 423 438 454 470 486 501 517 533 548
				564 586 607 629 651 673 694 716 738 759
				781 805 828 852 875 899 930 961 992 1023
				1054 1087 1120 1154 1187 1220 1255 1289 1324 1358
				1393 1433 1472 1512 1551 1591 1631 1670 1710 1749
				1789 1832 1875 1918 1961 2004 2047 2090 2133 2176
				2219 2264 2309 2355 2400 2445 2490 2535 2581 2626
				2671 2708 2745 2782 2819 2856 2892 2929 2966 3003
				3040 3070 3100 3130 3160 3190 3216 3242 3267 3293
				3319 3341 3363 3384 3406 3428 3446 3463 3481 3498 3516>;
		temp_array = <900 890 880 870 860 850 840 830 820 810
					   800 790 780 770 760 750 740 730 720 710
					   700 690 680 670 660 650 640 630 620 610
					   600 590 580 570 560 550 540 530 520 510
					   500 490 480 470 460 450 440 430 420 410
					   400 390 380 370 360 350 340 330 320 310
					   300 290 280 270 260 250 240 230 220 210
					   200 190 180 170 160 150 140 130 120 110
					   100 90 80 70 60 50 40 30 20 10
					   0 (-10) (-20) (-30) (-40) (-50) (-60) (-70) (-80) (-90)
					   (-100) (-110) (-120) (-130) (-140) (-150) (-160) (-170) (-180) (-190) (-200)>;
		io-channels = <&exynos_adc 0>;
		io-channel-names = "adc-ap-temp";
		io-channel-ranges;
	};

	argos {
		compatible = "samsung,argos";
		#address-cells = <1>;
		/*  The device number should be assigned for each device, e.g. "boot_device@1" and "boot_device@2".
		    Duplicated number is not allowed. Please refer the below example. */

		/* Table Format should be
		 * <Throughput(Mbps) ARM_min ARM_max KFC_min KFC_max MIF INT Task IRQ>
		 * ARM_min : Big Core's minimum frequency lock. 0 means not set,
		 * ARM_max : Big Core's maximum frequency lock. 0 means not set,
		 * KFC_min : Little Core's minimum frequency lock. 0 means not set,
		 * KFC_max : Little Core's maximum frequency lock. 0 means not set,
		 * MIF : MIF frequency lock. 0 means not set,
		 * INT : INT frequency lock. 0 means not set,
		 * Task : 1 - Set task affinity lock.
		 *        0 - Not set or unlock,
		 *              Task affinity should be predefined driver's code.
		 * IRQ : 1 - Set irq affinity lock.
		 *       0 - Not set or unlock,
		 *              Task affinity should be predefined driver's code.
		 */
		boot_device@1 {
			net_boost,label="IPC";
			net_boost,node="rmnet0 rmnet1 rmnet2 rmnet3 rmnet4 rmnet5 rmnet6 rmnet7 umts_dm0";
			net_boost,table_size = <4>;
			net_boost,table= <
				1 0 0 0 0 0 0 0 1
				20 0 0 839000 0 546000 100000 0 1
				50 0 0 1014000 0 836000 100000 0 1
				100 0 0 1482000 0 902000 100000 0 1
				>;
		};
		boot_device@2 {
			net_boost,label="P2P";
			net_boost,node="p2p-wlan0-0";
			net_boost,table_size = <3>;
			net_boost,table= <
				30 1248000 0 1248000 0 450000 0 0 0
				50 1586000 0 1586000 0 450000 134000 0 0
				90 1690000 0 1690000 0 836000 134000 1 1
				>;
		};
		boot_device@3 {
			net_boost,label="WIFI";
			net_boost,node="wlan0";
			net_boost,table_size = <3>;
			net_boost,table= <
				10 1014000 0 1014000 0 450000 0 0 0
				60 1690000 0 1690000 0 836000 134000 1 1
				120 1690000 0 1690000 0 836000 134000 1 1
				>;
		};
		boot_device@4 {
			net_boost,label="USB";
			net_boost,node="rndis0";
			net_boost,table_size = <1>;
			net_boost,table= <  1 0 0 0 0 0 0 0 1 >;
		};
		boot_device@5 {
			net_boost,label="CLAT";
			net_boost,node="clat clat4 v4-rmnet0 v4-rmnet1 v4-rmnet2 v4-rmnet3 v4-rmnet4 v4-rmnet5 v4-rmnet6 v4-rmnet7";
			net_boost,table_size = <3>;
			net_boost,table= <
				120 1352000 0 0 0 902000 0 0 0
				130 1482000 0 0 0 902000 0 0 0
				150 1586000 0 0 0 902000 0 0 0
				>;
		};

		/* Example
		   boot_device@2 {
		   net_boost,label="EMMC";
		   net_boost,node="";
		   net_boost,sysnode="/sys/class/mmc_host/mmc0/trans_count";
		   net_boost,table_size = <1>;
		   net_boost,table= <64 0 0 1300000 0 825000 400000 0 0>;
		   };
		   boot_device@3 {
		   net_boost,label="WIFI";
		   net_boost,node="wlan0";
		   net_boost,table_size = <3>;
		   net_boost,table= <60 1000000 0 800000 0 0 200000 0 0
		   100 1200000 0 1000000 0 0 200000 0 0
		   180 1700000 0 1100000 0 543000 267000 0 0>;
		   };
		   boot_device@4 {
		   net_boost,label="P2P";
		   net_boost,node="p2p-wlan0-0";
		   net_boost,table_size = <3>;
		   net_boost,table= <30 1000000 0 800000 0 0 200000 0 0
		   50 1200000 0 1000000 0 0 200000 0 0
		   90 1700000 0 1100000 0 543000 267000 0 0>;
		   };
		   boot_device@5 {
		   net_boost,label="CLAT";
		   net_boost,node="clat clat4";
		   net_boost,table_size = <3>;
		   net_boost,table= <120 1400000 0 0 0 825000 0 0 0
		   130 1500000 0 0 0 825000 0 0 0
		   150 1600000 0 0 0 825000 0 0 0>;
		   };
		 */
	};
};
